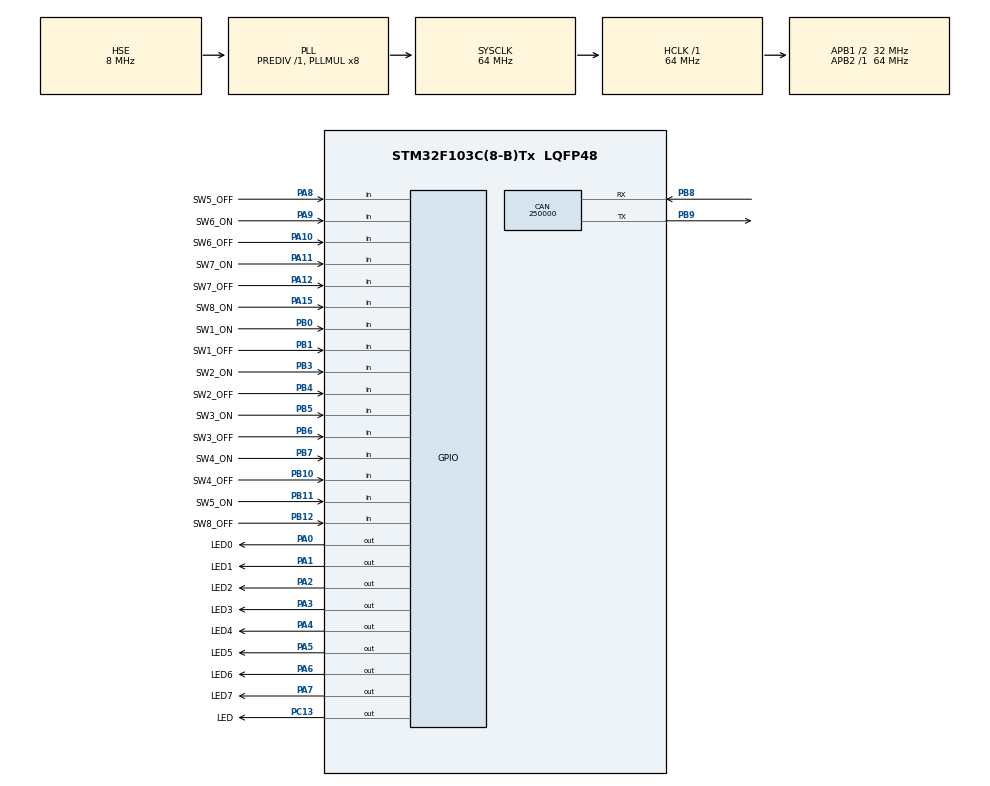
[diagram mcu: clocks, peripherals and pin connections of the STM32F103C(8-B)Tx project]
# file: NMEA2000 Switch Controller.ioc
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CAN.BS1=CAN_BS1_5TQ
CAN.BS2=CAN_BS2_2TQ
CAN.CalculateBaudRate=250000
CAN.CalculateTimeBit=4000
CAN.CalculateTimeQuantum=500.0
Mcu.Family=STM32F1
Mcu.Name=STM32F103C(8-B)Tx
Mcu.Package=LQFP48
NVIC.CAN1_RX1_IRQn=true\:0\:0\:false\:false\:true\:true\:true\:true
NVIC.CAN1_SCE_IRQn=true\:0\:0\:false\:false\:true\:true\:true\:true
NVIC.PriorityGroup=NVIC_PRIORITYGROUP_4
NVIC.TIM3_IRQn=true\:0\:0\:false\:false\:true\:true\:true\:true
NVIC.USB_HP_CAN1_TX_IRQn=true\:0\:0\:false\:false\:true\:true\:true\:true
NVIC.USB_LP_CAN1_RX0_IRQn=true\:0\:0\:false\:false\:true\:true\:true\:true
PA0-WKUP.GPIO_Label=LED0
PA0-WKUP.GPIO_Speed=GPIO_SPEED_FREQ_LOW
PA0-WKUP.Signal=GPIO_Output
PA1.GPIO_Label=LED1
PA1.GPIO_Speed=GPIO_SPEED_FREQ_LOW
PA1.Signal=GPIO_Output
PA10.GPIO_Label=SW6_OFF
PA10.GPIO_PuPd=GPIO_PULLUP
PA10.Signal=GPIO_Input
PA11.GPIO_Label=SW7_ON
PA11.GPIO_PuPd=GPIO_PULLUP
PA11.Signal=GPIO_Input
PA12.GPIO_Label=SW7_OFF
PA12.GPIO_PuPd=GPIO_PULLUP
PA12.Signal=GPIO_Input
PA13.Mode=Serial_Wire
PA13.Signal=SYS_JTMS-SWDIO
PA14.Mode=Serial_Wire
PA14.Signal=SYS_JTCK-SWCLK
PA15.GPIO_Label=SW8_ON
PA15.GPIO_PuPd=GPIO_PULLUP
PA15.Signal=GPIO_Input
PA2.GPIO_Label=LED2
PA2.GPIO_Speed=GPIO_SPEED_FREQ_LOW
PA2.Signal=GPIO_Output
PA3.GPIO_Label=LED3
PA3.GPIO_Speed=GPIO_SPEED_FREQ_LOW
PA3.Signal=GPIO_Output
PA4.GPIO_Label=LED4
PA4.Signal=GPIO_Output
PA5.GPIO_Label=LED5
PA5.Signal=GPIO_Output
PA6.GPIO_Label=LED6
PA6.Signal=GPIO_Output
PA7.GPIO_Label=LED7
PA7.Signal=GPIO_Output
PA8.GPIO_Label=SW5_OFF
PA8.GPIO_PuPd=GPIO_PULLUP
PA8.Signal=GPIO_Input
PA9.GPIO_Label=SW6_ON
PA9.GPIO_PuPd=GPIO_PULLUP
PA9.Signal=GPIO_Input
PB0.GPIO_Label=SW1_ON
PB0.GPIO_PuPd=GPIO_PULLUP
PB0.Signal=GPIO_Input
PB1.GPIO_Label=SW1_OFF
PB1.GPIO_PuPd=GPIO_PULLUP
PB1.Signal=GPIO_Input
PB10.GPIO_Label=SW4_OFF
PB10.GPIO_PuPd=GPIO_PULLUP
PB10.Signal=GPIO_Input
PB11.GPIO_Label=SW5_ON
PB11.GPIO_PuPd=GPIO_PULLUP
PB11.Signal=GPIO_Input
PB12.GPIO_Label=SW8_OFF
PB12.GPIO_PuPd=GPIO_PULLUP
PB12.Signal=GPIO_Input
PB3.GPIO_Label=SW2_ON
PB3.GPIO_PuPd=GPIO_PULLUP
PB3.Signal=GPIO_Input
PB4.GPIO_Label=SW2_OFF
PB4.GPIO_PuPd=GPIO_PULLUP
PB4.Signal=GPIO_Input
PB5.GPIO_Label=SW3_ON
PB5.GPIO_PuPd=GPIO_PULLUP
PB5.Signal=GPIO_Input
PB6.GPIO_Label=SW3_OFF
PB6.GPIO_PuPd=GPIO_PULLUP
PB6.Signal=GPIO_Input
PB7.GPIO_Label=SW4_ON
PB7.GPIO_PuPd=GPIO_PULLUP
PB7.Signal=GPIO_Input
PB8.GPIO_PuPd=GPIO_PULLUP
PB8.Mode=CAN_Activate
PB8.Signal=CAN_RX
PB9.Mode=CAN_Activate
PB9.Signal=CAN_TX
PC13-TAMPER-RTC.GPIO_Label=LED
PC13-TAMPER-RTC.GPIO_ModeDefaultOutputPP=GPIO_MODE_OUTPUT_OD
PC13-TAMPER-RTC.GPIO_PuPd=GPIO_NOPULL
PC13-TAMPER-RTC.GPIO_Speed=GPIO_SPEED_FREQ_HIGH
PC13-TAMPER-RTC.PinState=GPIO_PIN_SET
PC13-TAMPER-RTC.Signal=GPIO_Output
PD0-OSC_IN.Mode=HSE-External-Oscillator
PD0-OSC_IN.Signal=RCC_OSC_IN
PD1-OSC_OUT.Mode=HSE-External-Oscillator
PD1-OSC_OUT.Signal=RCC_OSC_OUT
ProjectManager.HeapSize=0x200
ProjectManager.StackSize=0x400
ProjectManager.TargetToolchain=STM32CubeIDE
RCC.AHBFreq_Value=64000000
RCC.APB1CLKDivider=RCC_HCLK_DIV2
RCC.APB1Freq_Value=32000000
RCC.APB1TimFreq_Value=64000000
RCC.APB2Freq_Value=64000000
RCC.APB2TimFreq_Value=64000000
RCC.HCLKFreq_Value=64000000
RCC.PLLMUL=RCC_PLL_MUL8
RCC.PLLSourceVirtual=RCC_PLLSOURCE_HSE
RCC.SYSCLKFreq_VALUE=64000000
RCC.SYSCLKSource=RCC_SYSCLKSOURCE_PLLCLK
RCC.USBFreq_Value=64000000
TIM3.Period=99
TIM3.Prescaler=6399
VP_TIM3_VS_ClockSourceINT.Mode=Internal
board=custom

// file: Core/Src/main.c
/* USER CODE BEGIN Header */
/**
  ******************************************************************************
  * @file           : main.c
  * @brief          : Main program body
  ******************************************************************************
  * NMEA2000 Switch Controller
  *
  * (CC) 2025 by G.J.Kruizinga
  *
  * @attention
  *
  * Copyright (c) 2025 STMicroelectronics.
  * All rights reserved.
  *
  * This software is licensed under terms that can be found in the LICENSE file
  * in the root directory of this software component.
  * If no LICENSE file comes with this software, it is provided AS-IS.
  *
  ******************************************************************************
  */
/* USER CODE END Header */
#include "main.h"

/* USER CODE BEGIN Includes */

#include <stdio.h>
/* USER CODE END Includes */

/* USER CODE BEGIN PTD */

// Switch function definition
struct SWITCH_T {
	uint16_t		switchType;
	uint16_t		switchState;
	uint16_t		switchOnId;
	GPIO_TypeDef	*switchOnPort;
	uint16_t		switchOffId;
	GPIO_TypeDef	*switchOffPort;
	uint16_t		ledNo;
	uint16_t		switchOnTime;
	uint8_t			relayId;
	uint8_t			relayNo;
};

// Bring led port definitions to an array structure
struct LED_T {
	GPIO_TypeDef	*gpio;
	uint16_t		pin;
};

// NMEA2K network operational NAME parameters
struct NMEA2K_NETWORK_T {
	uint8_t			senderId;
	uint8_t			linkState;
	uint16_t		heartbeatTime;
	uint8_t			*nameData;
	uint8_t			linkRetries;
};

// Queue type for ISO Transport Messages being received
struct ISO_TRANSPORT_MESSAGE_T {
	uint8_t			senderId;
	uint8_t			isoCommand;
	uint8_t			packetsExpected;
	uint8_t			packetsReceived;
	uint16_t		messageSize;
	uint32_t		pgn;
	uint8_t			*data;
	struct ISO_TRANSPORT_MESSAGE_T *prev;
	struct ISO_TRANSPORT_MESSAGE_T *next;
};

struct CAN_MSG_T {
	uint32_t		pgn;
	uint8_t			senderId;
	uint8_t			data[8];
};

// Queue type for timer actions
struct TIMER_T {
	int 			type;
	int				timeout;
	int 			countdown;
	void 			(*callback)(void *);
	void 			*payload;
	struct TIMER_T	*prev;
	struct TIMER_T	*next;
};

// Queue type for jobs to be executed
struct JOB_QUEUE_T {
	void 			(*callback)(void *);
	void 			*payload;
	struct JOB_QUEUE_T	*next;
};

/* USER CODE END PTD */

/* USER CODE BEGIN PD */
#define N2K_ID				192		/* Initial NMEA2K sender id */
#define SWITCH_CHANNELS		8		/* Number of switches on this board */

// Initial ISO NAME parameters
#define MFG_CODE			2046	/* Manufacturer code (0-2047) 2046 for homemade */
#define DEV_INST			0		/* Device instance */
#define DEV_FUNCT			135		/* Switch Interface */
#define DEV_CLASS			110		/* Human Interface */
#define SYS_INST			0		/* System instance */
#define IND_GROUP			4		/* Industry group = 4 (Marine Industry) */
#define ARB_ADDRESS			1		/* Arbitrary address capable */
#define ISO_MAX_RETRIES		8		/* Maximum number of address claim retries */
#define ISO_HEARTBEAT		2000	/* Heartbeat default interval = 20 sec (2000 * 10ms) */

// NMEA2K Link States
#define LINK_STATE_IDLE		0
#define LINK_STATE_CLAIMED	1
#define LINK_STATE_ACTIVE	2
#define LINK_STATE_ABORT	99

// Switch types
#define SWITCH_DISABLED		0
#define SWITCH_ON_OFF		1
#define SWITCH_PUSHBUTTON	2
#define SWITCH_MOMENTARY	3
#define SWITCH_MOM_TIME		4

// Switch states
#define SWITCH_IDLE			0
#define SWITCH_ON_1			1
#define SWITCH_OFF_1		2
#define SWITCH_ON_2			3
#define SWITCH_OFF_2		4
#define SWITCH_ON			5
#define SWITCH_OFF			6

#define TIMER_ONESHOT		1
#define TIMER_RELOAD		2

#define MODEL_ID			"GJK NMEA2000 Switch Controller"
#define SOFTWARE_VERSION	"V 1.0"
#define HARDWARE_VERSION	"V 1.0"

/* USER CODE END PD */

CAN_HandleTypeDef hcan;

TIM_HandleTypeDef htim3;

/* USER CODE BEGIN PV */
volatile uint16_t ledStatus;

// Configuration of switches
struct SWITCH_T switches[SWITCH_CHANNELS] = {
		{SWITCH_ON_OFF, SWITCH_IDLE, SW1_ON_Pin, SW1_ON_GPIO_Port, SW1_OFF_Pin, SW1_OFF_GPIO_Port, 0, 0, 0x8C, 0},
		{SWITCH_ON_OFF, SWITCH_IDLE, SW2_ON_Pin, SW2_ON_GPIO_Port, SW2_OFF_Pin, SW2_OFF_GPIO_Port, 1, 0, 0x8C, 4},
		{SWITCH_PUSHBUTTON, SWITCH_IDLE, SW3_ON_Pin, SW3_ON_GPIO_Port, SW3_OFF_Pin, SW3_OFF_GPIO_Port, 2, 0, 0x8C, 1},
		{SWITCH_PUSHBUTTON, SWITCH_IDLE, SW4_ON_Pin, SW4_ON_GPIO_Port, SW4_OFF_Pin, SW4_OFF_GPIO_Port, 3, 0, 0x8C, 5},
		{SWITCH_MOMENTARY, SWITCH_IDLE, SW5_ON_Pin, SW5_ON_GPIO_Port, SW5_OFF_Pin, SW5_OFF_GPIO_Port, 4, 0, 0x8C, 2},
		{SWITCH_MOMENTARY, SWITCH_IDLE, SW6_ON_Pin, SW6_ON_GPIO_Port, SW6_OFF_Pin, SW6_OFF_GPIO_Port, 5, 0, 0x8C, 6},
		{SWITCH_MOM_TIME, SWITCH_IDLE, SW7_ON_Pin, SW7_ON_GPIO_Port, SW7_OFF_Pin, SW7_OFF_GPIO_Port, 6, 300, 0x8C, 3},
		{SWITCH_MOM_TIME, SWITCH_IDLE, SW8_ON_Pin, SW8_ON_GPIO_Port, SW8_OFF_Pin, SW8_OFF_GPIO_Port, 7, 500, 0x8C, 7}
};

// Configuration of leds
struct LED_T leds[SWITCH_CHANNELS] = {
		{LED0_GPIO_Port, LED0_Pin},
		{LED1_GPIO_Port, LED1_Pin},
		{LED2_GPIO_Port, LED2_Pin},
		{LED3_GPIO_Port, LED3_Pin},
		{LED4_GPIO_Port, LED4_Pin},
		{LED5_GPIO_Port, LED5_Pin},
		{LED6_GPIO_Port, LED6_Pin},
		{LED7_GPIO_Port, LED7_Pin}
};

struct NMEA2K_NETWORK_T nmea2kNetwork;
struct TIMER_T *timers = NULL;
struct JOB_QUEUE_T *jobs = NULL;

// List of transmitted and received PGN's capable by this device
uint32_t txList[] = {59392, 60928, 126996, 126993, 126464, 127502, 0};
uint32_t rxList[] = {59904, 60928, 60160, 60416, 65240, 127501, 0};
uint32_t * pgnList[] = {txList, rxList};

// Static strings for PGN 126996 and 126998
char productInformation[128];
char manufacturerInformation[] = "(CC) 2025 by G.J.Kruizinga - gjk4all(at)gmail(dot)com";

/* USER CODE END PV */

void SystemClock_Config(void);
static void MX_GPIO_Init(void);
static void MX_CAN_Init(void);
static void MX_TIM3_Init(void);
/* USER CODE BEGIN PFP */

void Send_ISOAddressClaim();
void Send_ISOAcknowledgement(uint8_t dest, uint8_t control, uint8_t group, uint32_t pgn);
void Send_HeartBeat(void * payload);
void Send_SwitchBankControl(uint8_t *data);
void Send_SwitchOn(void * payload);
void Send_SwitchOff(void * payload);
void Send_ProductInformation(void * payload);
void Send_ConfigurationInformation(void * payload);
void Send_PGNList(void * payload);
int Send_FFMessage(CAN_TxHeaderTypeDef *TxHeader, uint8_t *data, int seqNo, int len);
void Handle_ISOTransportMessages(void *payload);
void Handle_ISOCommandedAddress(uint8_t *data);
void Set_Led(struct SWITCH_T * pSwitch, uint8_t *data);
int Compare_NameWeight(uint8_t *data);
int CheckSwitch(struct SWITCH_T *pSwitch);
struct TIMER_T * Add_Timer(int type, int timeout, void(*callback)(), void * payload);
void Delete_Timer(struct TIMER_T *timer);
struct JOB_QUEUE_T * Add_Job(void(*callback)(), void * payload);
void Delete_Job(struct JOB_QUEUE_T *job);

/* USER CODE END PFP */

int main(void)
{

  /* USER CODE BEGIN 1 */
	ledStatus = 0;

	// Initialize Product Information record
	for (int i = 0; i < 128; i++)
		productInformation[i] = 0xFF;

	sprintf(productInformation, "%s", MODEL_ID);
	sprintf(productInformation + 32, "%s", SOFTWARE_VERSION);
	sprintf(productInformation + 64, "%s", HARDWARE_VERSION);
	sprintf(productInformation + 96, "%lu", (HAL_GetUIDw0() ^ HAL_GetUIDw1() ^ HAL_GetUIDw2()));

	// Initialise the data array with the ISO NAME info
	uint8_t nameData[8];

	*(uint32_t *)nameData = (MFG_CODE << 21) | ((HAL_GetUIDw0() ^ HAL_GetUIDw1() ^ HAL_GetUIDw2()) & 0x1FFFFF);
	nameData[4] = DEV_INST;
	nameData[5] = DEV_FUNCT;
	nameData[6] = (DEV_CLASS << 1) | 1;
	nameData[7] = ((ARB_ADDRESS == 0)?0:0x80) | ((IND_GROUP << 4) & 0x70) | ((SYS_INST) & 0x0F);

	// Populate initial N2K network structure
	nmea2kNetwork.senderId = N2K_ID;
	nmea2kNetwork.linkState = LINK_STATE_IDLE;
	nmea2kNetwork.heartbeatTime = ISO_HEARTBEAT;
	nmea2kNetwork.nameData = nameData;
	nmea2kNetwork.linkRetries = 0;
  /* USER CODE END 1 */

  /* MCU Configuration--------------------------------------------------------*/

  /* Reset of all peripherals, Initializes the Flash interface and the Systick. */
  HAL_Init();

  /* Configure the system clock */
  SystemClock_Config();

  /* Initialize all configured peripherals */
  MX_GPIO_Init();
  MX_CAN_Init();
  MX_TIM3_Init();
  /* USER CODE BEGIN 2 */

  // Initialize continues timers
  HAL_TIM_Base_Stop_IT(&htim3);

  // Heartbeat timer
  if (Add_Timer(TIMER_RELOAD, nmea2kNetwork.heartbeatTime, &Send_HeartBeat, NULL) == NULL) {
	  Error_Handler();
  }

  /* USER CODE END 2 */

  /* Infinite loop */
	while (1)
	{

    /* USER CODE BEGIN 3 */
		// If the NMEA2K link is idle, try to (re)activate it
		if (nmea2kNetwork.linkState == LINK_STATE_IDLE) {
			// Stop the seconds timer
			HAL_TIM_Base_Stop_IT(&htim3);
			// Check the retry counter against max retries
			if (nmea2kNetwork.linkRetries > ISO_MAX_RETRIES) {
				// ERROR, no valid address
				nmea2kNetwork.linkState = LINK_STATE_ABORT;
				Error_Handler();
			}
			// Try a PGN 60928 - ISO Address Claim
			Send_ISOAddressClaim();
			// Set link state to CLAIMED
			nmea2kNetwork.linkState = LINK_STATE_CLAIMED;
			// Wait for 250 ms for the claim
			HAL_Delay(250);
			// Check if the claim is still valid
			if (nmea2kNetwork.linkState == LINK_STATE_CLAIMED) {
				// Claim is valid, activate network
				nmea2kNetwork.linkState = LINK_STATE_ACTIVE;
				// Clear the retry counter
				nmea2kNetwork.linkRetries = 0;
				// (re)start the seconds timer
				HAL_TIM_Base_Start_IT(&htim3);
			}
		}

		// If the link is up, do the switch polling
		if (nmea2kNetwork.linkState == LINK_STATE_ACTIVE) {
			// Check all the switches for state changes
			for (int i = 0; i < SWITCH_CHANNELS; i++)
				CheckSwitch(&switches[i]);

			// Run job queue
			while (jobs != NULL) {
				(jobs->callback)(jobs->payload);
				Delete_Job(jobs);
			}

			// Wait 10 ms for debounce
			HAL_Delay(10);
		}
	}
  /* USER CODE END 3 */
}

void SystemClock_Config(void)
{
  RCC_OscInitTypeDef RCC_OscInitStruct = {0};
  RCC_ClkInitTypeDef RCC_ClkInitStruct = {0};

  /** Initializes the RCC Oscillators according to the specified parameters
  * in the RCC_OscInitTypeDef structure.
  */
  RCC_OscInitStruct.OscillatorType = RCC_OSCILLATORTYPE_HSE;
  RCC_OscInitStruct.HSEState = RCC_HSE_ON;
  RCC_OscInitStruct.HSEPredivValue = RCC_HSE_PREDIV_DIV1;
  RCC_OscInitStruct.HSIState = RCC_HSI_ON;
  RCC_OscInitStruct.PLL.PLLState = RCC_PLL_ON;
  RCC_OscInitStruct.PLL.PLLSource = RCC_PLLSOURCE_HSE;
  RCC_OscInitStruct.PLL.PLLMUL = RCC_PLL_MUL8;
  if (HAL_RCC_OscConfig(&RCC_OscInitStruct) != HAL_OK)
  {
    Error_Handler();
  }

  /** Initializes the CPU, AHB and APB buses clocks
  */
  RCC_ClkInitStruct.ClockType = RCC_CLOCKTYPE_HCLK|RCC_CLOCKTYPE_SYSCLK
                              |RCC_CLOCKTYPE_PCLK1|RCC_CLOCKTYPE_PCLK2;
  RCC_ClkInitStruct.SYSCLKSource = RCC_SYSCLKSOURCE_PLLCLK;
  RCC_ClkInitStruct.AHBCLKDivider = RCC_SYSCLK_DIV1;
  RCC_ClkInitStruct.APB1CLKDivider = RCC_HCLK_DIV2;
  RCC_ClkInitStruct.APB2CLKDivider = RCC_HCLK_DIV1;

  if (HAL_RCC_ClockConfig(&RCC_ClkInitStruct, FLASH_LATENCY_2) != HAL_OK)
  {
    Error_Handler();
  }
}

static void MX_CAN_Init(void)
{

  /* USER CODE BEGIN CAN_Init 0 */
	CAN_FilterTypeDef  sFilterN2K127501, sFilterN2K060928;

  /* USER CODE END CAN_Init 0 */

  hcan.Instance = CAN1;
  hcan.Init.Prescaler = 16;
  hcan.Init.Mode = CAN_MODE_NORMAL;
  hcan.Init.SyncJumpWidth = CAN_SJW_1TQ;
  hcan.Init.TimeSeg1 = CAN_BS1_5TQ;
  hcan.Init.TimeSeg2 = CAN_BS2_2TQ;
  hcan.Init.TimeTriggeredMode = DISABLE;
  hcan.Init.AutoBusOff = DISABLE;
  hcan.Init.AutoWakeUp = DISABLE;
  hcan.Init.AutoRetransmission = ENABLE;
  hcan.Init.ReceiveFifoLocked = DISABLE;
  hcan.Init.TransmitFifoPriority = DISABLE;
  if (HAL_CAN_Init(&hcan) != HAL_OK)
  {
    Error_Handler();
  }
  /* USER CODE BEGIN CAN_Init 2 */
	// Filter for Binary Switch Bank Status messages
	uint32_t can_id = 127501 << 8;

	sFilterN2K127501.FilterBank = 1;
	sFilterN2K127501.FilterMode = CAN_FILTERMODE_IDMASK;
	sFilterN2K127501.FilterScale = CAN_FILTERSCALE_32BIT;
	sFilterN2K127501.FilterIdHigh = (can_id >> 13) & 0xFFFF;
	sFilterN2K127501.FilterIdLow = ((can_id << 3) & 0xFFF8) | 4;
	sFilterN2K127501.FilterMaskIdHigh = 0x0FFF;
	sFilterN2K127501.FilterMaskIdLow = 0xF804;
	sFilterN2K127501.FilterFIFOAssignment = CAN_FILTER_FIFO1;
	sFilterN2K127501.FilterActivation = CAN_FILTER_ENABLE;

	HAL_CAN_ConfigFilter(&hcan, &sFilterN2K127501);

	// Filter for ISO messages
	can_id = 0x0E800 << 8;

	sFilterN2K060928.FilterBank = 0;
	sFilterN2K060928.FilterMode = CAN_FILTERMODE_IDMASK;
	sFilterN2K060928.FilterScale = CAN_FILTERSCALE_32BIT;
	sFilterN2K060928.FilterIdHigh = (can_id >> 13) & 0xFFFF;
	sFilterN2K060928.FilterIdLow = ((can_id << 3) & 0xFFF8) | 4;
	sFilterN2K060928.FilterMaskIdHigh = 0x0FC0;
	sFilterN2K060928.FilterMaskIdLow = 0x0004;
	sFilterN2K060928.FilterFIFOAssignment = CAN_FILTER_FIFO1;
	sFilterN2K060928.FilterActivation = CAN_FILTER_ENABLE;

	HAL_CAN_ConfigFilter(&hcan, &sFilterN2K060928);

	// Start CAN bus
	HAL_CAN_Start(&hcan);
	// Enable RX interrupts
	if (HAL_CAN_ActivateNotification(&hcan, CAN_IT_RX_FIFO1_MSG_PENDING) != HAL_OK) {
		Error_Handler();
	}

  /* USER CODE END CAN_Init 2 */

}

static void MX_TIM3_Init(void)
{

  TIM_ClockConfigTypeDef sClockSourceConfig = {0};
  TIM_MasterConfigTypeDef sMasterConfig = {0};

  htim3.Instance = TIM3;
  htim3.Init.Prescaler = 6399;
  htim3.Init.CounterMode = TIM_COUNTERMODE_UP;
  htim3.Init.Period = 99;
  htim3.Init.ClockDivision = TIM_CLOCKDIVISION_DIV1;
  htim3.Init.AutoReloadPreload = TIM_AUTORELOAD_PRELOAD_DISABLE;
  if (HAL_TIM_Base_Init(&htim3) != HAL_OK)
  {
    Error_Handler();
  }
  sClockSourceConfig.ClockSource = TIM_CLOCKSOURCE_INTERNAL;
  if (HAL_TIM_ConfigClockSource(&htim3, &sClockSourceConfig) != HAL_OK)
  {
    Error_Handler();
  }
  sMasterConfig.MasterOutputTrigger = TIM_TRGO_RESET;
  sMasterConfig.MasterSlaveMode = TIM_MASTERSLAVEMODE_DISABLE;
  if (HAL_TIMEx_MasterConfigSynchronization(&htim3, &sMasterConfig) != HAL_OK)
  {
    Error_Handler();
  }

}

static void MX_GPIO_Init(void)
{
  GPIO_InitTypeDef GPIO_InitStruct = {0};

  /* GPIO Ports Clock Enable */
  __HAL_RCC_GPIOC_CLK_ENABLE();
  __HAL_RCC_GPIOD_CLK_ENABLE();
  __HAL_RCC_GPIOA_CLK_ENABLE();
  __HAL_RCC_GPIOB_CLK_ENABLE();

  /*Configure GPIO pin Output Level */
  HAL_GPIO_WritePin(LED_GPIO_Port, LED_Pin, GPIO_PIN_SET);

  /*Configure GPIO pin Output Level */
  HAL_GPIO_WritePin(GPIOA, LED0_Pin|LED1_Pin|LED2_Pin|LED3_Pin
                          |LED4_Pin|LED5_Pin|LED6_Pin|LED7_Pin, GPIO_PIN_RESET);

  /*Configure GPIO pin : LED_Pin */
  GPIO_InitStruct.Pin = LED_Pin;
  GPIO_InitStruct.Mode = GPIO_MODE_OUTPUT_OD;
  GPIO_InitStruct.Pull = GPIO_NOPULL;
  GPIO_InitStruct.Speed = GPIO_SPEED_FREQ_HIGH;
  HAL_GPIO_Init(LED_GPIO_Port, &GPIO_InitStruct);

  /*Configure GPIO pins : LED0_Pin LED1_Pin LED2_Pin LED3_Pin
                           LED4_Pin LED5_Pin LED6_Pin LED7_Pin */
  GPIO_InitStruct.Pin = LED0_Pin|LED1_Pin|LED2_Pin|LED3_Pin
                          |LED4_Pin|LED5_Pin|LED6_Pin|LED7_Pin;
  GPIO_InitStruct.Mode = GPIO_MODE_OUTPUT_PP;
  GPIO_InitStruct.Pull = GPIO_NOPULL;
  GPIO_InitStruct.Speed = GPIO_SPEED_FREQ_LOW;
  HAL_GPIO_Init(GPIOA, &GPIO_InitStruct);

  /*Configure GPIO pins : SW1_ON_Pin SW1_OFF_Pin SW4_OFF_Pin SW5_ON_Pin
                           SW8_OFF_Pin SW2_ON_Pin SW2_OFF_Pin SW3_ON_Pin
                           SW3_OFF_Pin SW4_ON_Pin */
  GPIO_InitStruct.Pin = SW1_ON_Pin|SW1_OFF_Pin|SW4_OFF_Pin|SW5_ON_Pin
                          |SW8_OFF_Pin|SW2_ON_Pin|SW2_OFF_Pin|SW3_ON_Pin
                          |SW3_OFF_Pin|SW4_ON_Pin;
  GPIO_InitStruct.Mode = GPIO_MODE_INPUT;
  GPIO_InitStruct.Pull = GPIO_PULLUP;
  HAL_GPIO_Init(GPIOB, &GPIO_InitStruct);

  /*Configure GPIO pins : SW5_OFF_Pin SW6_ON_Pin SW6_OFF_Pin SW7_ON_Pin
                           SW7_OFF_Pin SW8_ON_Pin */
  GPIO_InitStruct.Pin = SW5_OFF_Pin|SW6_ON_Pin|SW6_OFF_Pin|SW7_ON_Pin
                          |SW7_OFF_Pin|SW8_ON_Pin;
  GPIO_InitStruct.Mode = GPIO_MODE_INPUT;
  GPIO_InitStruct.Pull = GPIO_PULLUP;
  HAL_GPIO_Init(GPIOA, &GPIO_InitStruct);

}

/* USER CODE BEGIN 4 */

/******************************************************************************
 * HAL_TIM_PeriodElapsedCallback
 *
 * HAL function every 0.01 sec called by the TIM1 timer
 * Used for timers
 *
 *****************************************************************************/
void HAL_TIM_PeriodElapsedCallback (TIM_HandleTypeDef *htim)
{
	struct TIMER_T *current, *temp;

	__HAL_TIM_CLEAR_IT(htim, TIM_IT_UPDATE);

	current = timers;
	while (current != NULL) {
		// Countdown on timer
		if (current->countdown != 0) {
			current->countdown -= 1;
			current = current->next;
		}
		else {
			// Submit timer job to the job queue
 			Add_Job(current->callback, current->payload);

 			// Reload contignious timer
			if (current->type == TIMER_RELOAD) {
				current->countdown = current->timeout;
				current = current->next;
			}
			// Cleanup one-shot timer
			else if (current->type == TIMER_ONESHOT) {
				temp = current;
				current = current->next;
				Delete_Timer(temp);
			}
		}
	}
}

/******************************************************************************
 * HAL_CAN_RxFifo1MsgPendingCallback
 *
 * HAL function called when a CAN message is received through the filters
 * Determines which action must be taken as a reaction
 *
 *****************************************************************************/
void HAL_CAN_RxFifo1MsgPendingCallback(CAN_HandleTypeDef *hcan)
{
	CAN_RxHeaderTypeDef	RxHeader;
	uint8_t				RxData[8];
	uint32_t			N2KPgn;
	uint8_t				senderId;

	// RX control LED
	HAL_GPIO_WritePin(LED_GPIO_Port, LED_Pin, GPIO_PIN_RESET);

	// Get the message from the FIFO
	if (HAL_CAN_GetRxMessage(hcan, CAN_RX_FIFO1, &RxHeader, RxData) != HAL_OK) {
		Error_Handler();
	}

	// Get the NMEA2000 PGN and the sender id from the extended CAN id
	N2KPgn = (RxHeader.ExtId >> 8) & 0x01FFFF;
	senderId = RxHeader.ExtId & 0xFF;

	// Check for Switch Bank Control message addressed to our channelID
	if (N2KPgn == 127501) {
		for (int i = 0; i < SWITCH_CHANNELS; i++) {
			if (RxData[0] == switches[i].relayId)
				Set_Led(&switches[i], RxData);
		}
	}

	// Check for ISO Address Claim message with our senderId
	if (((N2KPgn & 0x1FE00) == 0x0EE00) && (senderId == nmea2kNetwork.senderId)) {
		// If we are waiting for the claimed address, address is in use, send a new claim
		if (nmea2kNetwork.linkState == LINK_STATE_CLAIMED) {
			nmea2kNetwork.linkState = LINK_STATE_IDLE;
			nmea2kNetwork.linkRetries += 1;
			nmea2kNetwork.senderId += nmea2kNetwork.linkRetries;
		}
		// If our address is already active, check a couple of things
		if (nmea2kNetwork.linkState == LINK_STATE_ACTIVE) {
			// If the other contender can't change his senderID or has a higher NAME score, we change our senderID
			if (Compare_NameWeight(RxData)) {
				Send_ISOAddressClaim();
			}
			else {
				nmea2kNetwork.linkState = LINK_STATE_IDLE;
				nmea2kNetwork.linkRetries += 1;
				nmea2kNetwork.senderId += nmea2kNetwork.linkRetries;
			}
		}
	}

	struct CAN_MSG_T *msg;

	// Check for ISO Request to our senderId or broadcast id
	if (((N2KPgn & 0x1FE00) == 0x0EA00) && (((N2KPgn & 0xFF) == nmea2kNetwork.senderId) || ((N2KPgn & 0xFF) == 0xFF))) {
		if ((msg = malloc(sizeof(struct CAN_MSG_T))) == NULL) {
			Error_Handler();
		}

		msg->pgn = *(uint32_t *)RxData & 0x00FFFFFF;
		msg->senderId = senderId;

		// Check for a ISO Address Claim request
		if (msg->pgn == 0x00EE00) {
			Add_Job(&Send_ISOAddressClaim, msg);
		}

		// Check for a Product Information request
		if (msg->pgn == 0x01F014) {
			Add_Job(&Send_ProductInformation, msg);
		}

		// Check for a Configuration Information request
		if (msg->pgn == 0x01F016) {
			Add_Job(&Send_ConfigurationInformation, msg);
		}

		// Check for a PGN List request
		if (msg->pgn == 0x01EE00) {
			Add_Job(&Send_PGNList, msg);
		}
	}

	// Check for ISO Transport Protocol messages
	if (((N2KPgn & 0x1FF00) == 0x0EC00) || ((N2KPgn & 0x1FF00) == 0x0EB00)) {
		if ((msg = malloc(sizeof(struct CAN_MSG_T))) == NULL) {
			Error_Handler();
		}

		msg->pgn = N2KPgn;
		msg->senderId = senderId;
		memcpy(msg->data, RxData, RxHeader.DLC);

		Add_Job(&Handle_ISOTransportMessages, msg);
	}

	// RX control LED
	HAL_GPIO_WritePin(LED_GPIO_Port, LED_Pin, GPIO_PIN_SET);
}

/******************************************************************************
 * Send_ISOAddressClaim
 *
 * Send a ISO Address Claim message to claim our sender ID
 *
 *****************************************************************************/
void Send_ISOAddressClaim() {
	CAN_TxHeaderTypeDef	TxHeader;
	uint32_t			TxMailbox = CAN_TX_MAILBOX0;
	uint32_t			N2KId;

	// Initialise the CAN header with the NMEA2K info
	// Can ID = PRIO(3) - 0 - PGN(17) - Sender ID(8)
	N2KId = (6 << 26) | (0x0EEFF << 8) | nmea2kNetwork.senderId;
	TxHeader.ExtId = N2KId;
	TxHeader.IDE = CAN_ID_EXT;
	TxHeader.RTR = CAN_RTR_DATA;
	TxHeader.DLC = 8;
	TxHeader.TransmitGlobalTime = DISABLE;

	// Send the NMEA 60928 ISO Address Claim message
	if (HAL_CAN_AddTxMessage(&hcan, &TxHeader, nmea2kNetwork.nameData, &TxMailbox) != HAL_OK) {
		Error_Handler();
	}

}

/******************************************************************************
 * Send_ISOAcknowledgement
 *
 * Send a ISO Acknowledgement message
 *
 * Parameters:
 * - dest		Destination address
 * - control	Acknowledgement type
 * - group		Group ID
 * - pgn		PGN to acknowledge
 *
 *****************************************************************************/
void Send_ISOAcknowledgement(uint8_t dest, uint8_t control, uint8_t group, uint32_t pgn) {
	CAN_TxHeaderTypeDef	TxHeader;
	uint32_t			TxMailbox = CAN_TX_MAILBOX0;
	uint32_t			N2KId;

	// Initialise the CAN header with the NMEA2K info
	// Can ID = PRIO(3) - 0 - PGN(17) - Sender ID(8)
	N2KId = (6 << 26) | (0x0E800 << 8) | (dest << 8) | nmea2kNetwork.senderId;
	TxHeader.ExtId = N2KId;
	TxHeader.IDE = CAN_ID_EXT;
	TxHeader.RTR = CAN_RTR_DATA;
	TxHeader.DLC = 8;
	TxHeader.TransmitGlobalTime = DISABLE;

	// Initialise the data array with the ISO NAME info
	uint8_t TxData[] = {control, group, 0xFF, 0xFF, 0xFF, (pgn & 0xFF), ((pgn >> 8) & 0xFF), ((pgn >> 16) & 0xFF)};

	// Send the NMEA 60928 ISO Address Claim message
	if (HAL_CAN_AddTxMessage(&hcan, &TxHeader, TxData, &TxMailbox) != HAL_OK) {
		Error_Handler();
	}

}

/******************************************************************************
 * Send_SwitchBankControl
 *
 * Send a NMEA2000 Switch Bank Control message to control the relay board
 *
 * Parameters:
 *  - *TxData	Pointer to a CAN TxData[8] structure
 *
 *****************************************************************************/
void Send_SwitchBankControl(uint8_t *data)
{
	CAN_TxHeaderTypeDef	TxHeader;
	uint32_t			TxMailbox = CAN_TX_MAILBOX0;
	uint32_t			N2KId;

	// Initialize the CAN header with the NMEA2K info
	// Can ID = PRIO(3) - 0 - PGN(17) - Sender ID(8)
	N2KId = (3 << 26) | (127502 << 8) | nmea2kNetwork.senderId;
	TxHeader.ExtId = N2KId;
	TxHeader.IDE = CAN_ID_EXT;
	TxHeader.RTR = CAN_RTR_DATA;
	TxHeader.DLC = 8;
	TxHeader.TransmitGlobalTime = DISABLE;

	// Send the NMEA 127501 Binary Switch Bank Status message
	if (HAL_CAN_AddTxMessage(&hcan, &TxHeader, data, &TxMailbox) != HAL_OK) {
		Error_Handler();
	}
}

/******************************************************************************
 * Send_HeartBeat
 *
 * Send a NMEA2000 Heartbeat message to the network
 *
 *****************************************************************************/
void Send_HeartBeat(void * payload) {
	static int			sequence = 0;
	CAN_TxHeaderTypeDef	TxHeader;
	uint32_t			TxMailbox = CAN_TX_MAILBOX0;
	uint32_t			N2KId;

	// Initialise the CAN header with the NMEA2K info
	// Can ID = PRIO(3) - 0 - PGN(17) - Sender ID(8)
	N2KId = (6 << 26) | (0x1F011 << 8) | nmea2kNetwork.senderId;
	TxHeader.ExtId = N2KId;
	TxHeader.IDE = CAN_ID_EXT;
	TxHeader.RTR = CAN_RTR_DATA;
	TxHeader.DLC = 8;
	TxHeader.TransmitGlobalTime = DISABLE;

	// Initialise the data array with the heartbeat info
	uint8_t TxData[8];

	*((uint16_t *)TxData) = nmea2kNetwork.heartbeatTime;
	TxData[2] = sequence++;
	TxData[3] = 0b11001101;
	*((uint32_t *)(TxData + 4)) = 0xFFFFFFFF;

	if (sequence > 252)
		sequence = 0;

	// Send the NMEA 60928 ISO Address Claim message
	if (HAL_CAN_AddTxMessage(&hcan, &TxHeader, TxData, &TxMailbox) != HAL_OK) {
		Error_Handler();
	}

	free(payload);
}

/******************************************************************************
 * Send_SwitchOn
 *
 * Send a NMEA2000 PGN 127502 - Switch Bank Control message to the indicated
 * relay board and relay number.
 *
 * Parameters:
 *  - *payload		Pointer to the SWITCH_T structure to switch on
 *
 *****************************************************************************/
void Send_SwitchOn(void * payload) {
	int offset, index;
	struct SWITCH_T *pSwitch = (struct SWITCH_T *)payload;
	uint8_t data[8] = {0xFF, 0xFF, 0xFF, 0xFF, 0xFF, 0xFF, 0xFF, 0xFF};

	if (nmea2kNetwork.linkState == LINK_STATE_ACTIVE) {
		// Reset the data array
		data[0] = pSwitch->relayId;
		offset = 2 * (pSwitch->relayNo % 4);
		index = 1 + (pSwitch->relayNo / 4);
		data[index] &= ~(0b10 << offset);
		Send_SwitchBankControl(data);
	}
}

/******************************************************************************
 * Send_SwitchOff
 *
 * Send a NMEA2000 PGN 127502 - Switch Bank Control message to the indicated
 * relay board and relay number.
 *
 * Parameters:
 *  - *payload		Pointer to the SWITCH_T structure to switch off
 *
 *****************************************************************************/
void Send_SwitchOff(void * payload) {
	int offset, index;
	struct SWITCH_T *pSwitch = (struct SWITCH_T *)payload;
	uint8_t data[8] = {0xFF, 0xFF, 0xFF, 0xFF, 0xFF, 0xFF, 0xFF, 0xFF};

	if (nmea2kNetwork.linkState == LINK_STATE_ACTIVE) {
		// Reset the data array
		data[0] = pSwitch->relayId;
		offset = 2 * (pSwitch->relayNo % 4);
		index = 1 + (pSwitch->relayNo / 4);
		data[index] &= ~(0b11 << offset);
		Send_SwitchBankControl(data);
	}
}

/******************************************************************************
 * Send_ProductInformation
 *
 * Send a PGN 126996 Product Information message when requested throug a
 * PGN 59904 - ISO Request message.
 *
 * Parameters:
 *  - *payload		NULL pointer
 *
 *****************************************************************************/
void Send_ProductInformation(void * payload) {
	CAN_TxHeaderTypeDef	TxHeader;
	uint32_t			N2KId;
	uint8_t				*data;

	// Initialise the CAN header with the NMEA2K info
	// Can ID = PRIO(3) - 0 - PGN(17) - Sender ID(8)
	N2KId = (6 << 26) | (0x1F014 << 8) | nmea2kNetwork.senderId;
	TxHeader.ExtId = N2KId;
	TxHeader.IDE = CAN_ID_EXT;
	TxHeader.RTR = CAN_RTR_DATA;
	TxHeader.DLC = 8;
	TxHeader.TransmitGlobalTime = DISABLE;

	// Allocate data structure
	if ((data = malloc(134 * sizeof(uint8_t))) == NULL) {
		Error_Handler();
	}

	// Populate data structure
	*(uint16_t *)data = 3000;					// NMEA2000 v3.000
	*(uint16_t *)(data + 2) = 101;				// Model number 1.01
	memcpy(data + 4, productInformation, 128);	// 128 bytes of product information
	*(data + 132) = 0xFF;						// No official NMEA2000 certification
	*(data + 133) = 4;							// Guaranteed max load = 4 * 50mA = 200mA

	// Send as Fast Frame message
	Send_FFMessage(&TxHeader, data, 0, 134);
	free(data);
	free(payload);
}

/******************************************************************************
 * Send_ConfigurationInformation
 *
 * Send a PGN 126998 Configuration Information message when requested throug a
 * PGN 59904 - ISO Request message.
 *
 * Parameters:
 *  - *payload		NULL pointer
 *
 *****************************************************************************/
void Send_ConfigurationInformation(void * payload) {
	CAN_TxHeaderTypeDef	TxHeader;
	uint32_t			N2KId;
	uint8_t				*data;

	// Initialise the CAN header with the NMEA2K info
	// Can ID = PRIO(3) - 0 - PGN(17) - Sender ID(8)
	N2KId = (6 << 26) | (0x1F016 << 8) | nmea2kNetwork.senderId;
	TxHeader.ExtId = N2KId;
	TxHeader.IDE = CAN_ID_EXT;
	TxHeader.RTR = CAN_RTR_DATA;
	TxHeader.DLC = 8;
	TxHeader.TransmitGlobalTime = DISABLE;

	int mfgStrLength = 2 + strlen(manufacturerInformation);
	int length = 4 + mfgStrLength;

	// Allocate data structure
	if ((data = malloc(length * sizeof(uint8_t))) == NULL) {
		Error_Handler();
	}

	// Populate data structure
	data[0] = 2;
	data[1] = 1;
	data[2] = 2;
	data[3] = 1;
	data[4] = mfgStrLength;
	data[5] = 1;
	memcpy(data + 6, manufacturerInformation, strlen(manufacturerInformation));

	// Send as Fast Frame message
	Send_FFMessage(&TxHeader, data, 0, length);

	free(data);
	free(payload);
}

/******************************************************************************
 * Send_PGNList
 *
 * Sends a  PGN 126464 PGN List for TX and RX messages when requested throug a
 * PGN 59904 - ISO Request message.
 *
 * Parameters:
 *  - *payload		NULL pointer
 *
 *****************************************************************************/
void Send_PGNList(void * payload) {
	CAN_TxHeaderTypeDef	TxHeader;
	uint32_t			N2KId;
	uint8_t				*data;
	int 				length;

	// Initialise the CAN header with the NMEA2K info
	// Can ID = PRIO(3) - 0 - PGN(17) - Sender ID(8)
	N2KId = (6 << 26) | (0x1EE00 << 8) | nmea2kNetwork.senderId;
	TxHeader.ExtId = N2KId;
	TxHeader.IDE = CAN_ID_EXT;
	TxHeader.RTR = CAN_RTR_DATA;
	TxHeader.DLC = 8;
	TxHeader.TransmitGlobalTime = DISABLE;

	for (int i = 0; i < 2; i++) {
		for (length = 0; pgnList[i][length] != 0; length++);

		// Allocate data structure
		if ((data = malloc(1 + (length * 3))) == NULL) {
			Error_Handler();
		}

		// Populate data structure
		data[0] = (uint8_t)i;
		for (int j = 0; j < length; j++) {
			memcpy(data + 1 + (j * 3), &pgnList[i][j], 3);
		}

		Send_FFMessage(&TxHeader, data, 0, 1 + (length * 3));
		free(data);
	}

	free(payload);
}

/******************************************************************************
 * Send_FFMessage
 *
 * Sends NMEA2000 Fast Frame messages for the given data structure.
 *
 * Parameters:
 *  - *TxHeader		Pointer to the CAN_TxHeader for the messages
 *  - *data			Pointer to the data structure
 *  - seqNo			Sequence number for the FF messages
 *  - len			Length of the data structure to send
 *
 *****************************************************************************/
int Send_FFMessage(CAN_TxHeaderTypeDef *TxHeader, uint8_t *data, int seqNo, int len) {
	uint32_t TxMailbox = CAN_TX_MAILBOX0;
	int offset = 0, frameCounter = 0;
	uint8_t TxData[8];

	// Check validity of len parameter
	if (len > 223)
		return frameCounter;

	// Frame length is always 8 data bytes
	TxHeader->DLC = 8;

	// Fill TxData for first package
	TxData[0] = (seqNo << 5) | (frameCounter++ & 0x1F);
	TxData[1] = len & 0xFF;
	memcpy(&TxData[2], data, ((len - offset) < 6)?(len - offset):6);

	// Pad till 8 bytes
	for (int i = (len - offset) + 2; i < 8; i++) {
		TxData[i] = 0xFF;
	}

	offset += ((len - offset) < 6)?(len - offset):6;

	// Send the NMEA2000 FF Frame
	if (HAL_CAN_AddTxMessage(&hcan, TxHeader, TxData, &TxMailbox) != HAL_OK) {
		Error_Handler();
	}

	while (offset < len) {
		// Delay for 1 ms to prevent buffer flooding (non critical)
		HAL_Delay(10);

		// Fill TxData for additional packages
		TxData[0] = (seqNo << 5) | (frameCounter++ & 0x1F);
		memcpy(&TxData[1], data + offset, ((len - offset) < 7)?(len - offset):7);

		// Pad till 8 bytes
		for (int i = (len - offset) + 1; i < 8; i++) {
			TxData[i] = 0xFF;
		}

		offset += ((len - offset) < 7)?(len - offset):7;

		// Send the NMEA2000 FF Frame
		if (HAL_CAN_AddTxMessage(&hcan, TxHeader, TxData, &TxMailbox) != HAL_OK) {
			Error_Handler();
		}
	}

	// Return number of frames send
	return frameCounter;
}

/******************************************************************************
 * Handle_ISOTransportMessages
 *
 * Handler for incoming PGN 60416 ISO Transport Protocol CM and PGN 60160 ISO
 * Transport Protocol DT messages, used for PGN 65240 ISO Commanded Address
 * messages
 *
 * Parameters:
 *  - *payload		Pointer to an ISO_TRANSPORT_MESSAGE_T structure
 *
 *****************************************************************************/
void Handle_ISOTransportMessages(void *payload) {
	struct CAN_MSG_T *msg = payload;
	static struct ISO_TRANSPORT_MESSAGE_T *msgList = NULL;
	struct ISO_TRANSPORT_MESSAGE_T *currentMsg, *newMsg;
	int offset, byteCount;

	// BAM announcement
	if (((msg->pgn & 0x1FF00) == 0x0EC00) && (msg->data[0] == 0x20)) {
		// Find the last message to insert after
		if ((currentMsg = msgList) != NULL) {
			while (currentMsg->next != NULL)
				currentMsg = currentMsg->next;
		}

		// Create the new message structure
		if ((newMsg = malloc(sizeof(struct ISO_TRANSPORT_MESSAGE_T))) == NULL) {
			Error_Handler();
		}

		// Fill the structure
		newMsg->senderId = msg->senderId;
		newMsg->isoCommand = msg->data[0];
		newMsg->packetsExpected = msg->data[3];
		newMsg->packetsReceived = 0;
		newMsg->messageSize = *((uint16_t *)(msg->data + 1));
		newMsg->pgn = (*((uint32_t *)(msg->data + 4)) >> 8);
		newMsg->prev = currentMsg;
		newMsg->next = NULL;

		// Create the data structure
		if ((newMsg->data = malloc(newMsg->messageSize * sizeof(uint8_t))) == NULL) {
			Error_Handler();
		}

		// Link newMsg in the list
		if (currentMsg == NULL) {
			msgList = newMsg;
		}
		else {
			currentMsg->prev = newMsg;
		}
	}

	// Data package
	if ((msg->pgn & 0x1FF00) == 0x0EB00) {
		currentMsg = msgList;
		// Find the right message
		while(currentMsg != NULL) {
			if (currentMsg->senderId == msg->senderId) {
				offset = (msg->data[0] - 1) * 7;
				if ((byteCount = currentMsg->messageSize - ((msg->data[0] - 1) * 7)) > 7)
					byteCount = 7;
				memcpy(currentMsg->data + offset, msg->data + 1, byteCount);
				currentMsg->packetsReceived += 1;

				// Check if message is complete
				if (currentMsg->packetsReceived == currentMsg->packetsExpected) {
					// Check for ISO Commanded Address
					if (currentMsg->pgn == 65240)
						Handle_ISOCommandedAddress(currentMsg->data);

					// Cleanup memory and restore linked list
					if (currentMsg->prev == NULL)
						msgList = currentMsg->next;
					else
						currentMsg->prev->next = currentMsg->next;

					if (currentMsg->next != NULL)
						currentMsg->next->prev = currentMsg->prev;

					free(currentMsg->data);
					free(currentMsg);
				}
				break;
			}
		}
	}
}

/******************************************************************************
 * Handle_ISOCommandedAddress
 *
 * Handle a received PGN 65240 ISO Commanded Address message if it is adressed
 * to us
 *
 * Parameters:
 * 	- *data			Pointer to the data structure
 *
 *****************************************************************************/
void Handle_ISOCommandedAddress(uint8_t *data) {
	if (*(uint64_t *)nmea2kNetwork.nameData == *(uint64_t *)data) {
		nmea2kNetwork.senderId = data[8];
		nmea2kNetwork.nameData[7] &= ~(1 << 7);		// Reset arbitrary addres bit
		nmea2kNetwork.linkState = LINK_STATE_IDLE;
	}
}

/******************************************************************************
 * Set_Led
 *
 * Reacts on PGN 127501 - Binary Switch Bank Status messages by lightning or
 * dimming the LED belonging to the pressed switch.
 *
 * Parameters:
 *  - *pSwitch		Pointer to the switch structure
 *  - *data			Pointer to the PGN 127501 data structure
 *
 *****************************************************************************/
void Set_Led(struct SWITCH_T *pSwitch, uint8_t *data) {
	int offset, index;

	// Determine index and offset for the parameters in the data structure
	offset = 2 * (pSwitch->relayNo % 4);
	index = 1 + (pSwitch->relayNo / 4);

	if ((data[index] >> offset) & 0x01) {
		// Parameter is 1, light the LED
		ledStatus |= (1 << pSwitch->ledNo);
		HAL_GPIO_WritePin(leds[pSwitch->ledNo].gpio, leds[pSwitch->ledNo].pin, GPIO_PIN_SET);
	}
	else {
		// Parameter is 0, dim the LED
		ledStatus &= ~(1 << pSwitch->ledNo);
		HAL_GPIO_WritePin(leds[pSwitch->ledNo].gpio, leds[pSwitch->ledNo].pin, GPIO_PIN_RESET);
	}
}

/******************************************************************************
 * Compare_NameWeight
 *
 * Helper function to compare our ISO NAME values against a contender
 *
 * Parameters:
 * 	- *data		Pointer to a CAN RxData[8] NAME structure
 *
 * Returns:
 * 	- True if we win, False if we loose
 *
 *****************************************************************************/
int Compare_NameWeight(uint8_t *data) {
	return (*(uint64_t *)nmea2kNetwork.nameData <= *(uint64_t *)data);
}

/******************************************************************************
 * CheckSwitch
 *
 * Check the state of the switch. Debounce by state machine, this also mekes
 * shure the switch only fires once
 *
 * Parameters:
 *  - switchNo		Number of the switch to be checked
 *****************************************************************************/
int CheckSwitch(struct SWITCH_T *pSwitch) {
	GPIO_PinState swOn, swOff;
	swOn = HAL_GPIO_ReadPin(pSwitch->switchOnPort, pSwitch->switchOnId);
	swOff = HAL_GPIO_ReadPin(pSwitch->switchOffPort, pSwitch->switchOffId);

	switch (pSwitch->switchType) {
	case SWITCH_ON_OFF:
		if ((swOn == GPIO_PIN_RESET) && (swOff == GPIO_PIN_SET)) {
			// Debounce state machine
			switch (pSwitch->switchState) {
			case SWITCH_IDLE:
				pSwitch->switchState = SWITCH_ON_1;
				break;
			case SWITCH_ON_1:
				pSwitch->switchState = SWITCH_ON_2;
				break;
			case SWITCH_ON_2:
 				pSwitch->switchState = SWITCH_ON;
 				Send_SwitchOn(pSwitch);
				return 1;
			}
		}
		if ((swOn == GPIO_PIN_SET) && (swOff == GPIO_PIN_RESET)) {
			// Debounce state machine
			switch (pSwitch->switchState) {
			case SWITCH_IDLE:
				pSwitch->switchState = SWITCH_OFF_1;
				break;
			case SWITCH_OFF_1:
				pSwitch->switchState = SWITCH_OFF_2;
				break;
			case SWITCH_OFF_2:
				pSwitch->switchState = SWITCH_OFF;
 				Send_SwitchOff(pSwitch);
				return -1;
			}
		}
		// Switch is released, set it back to idle
		if ((swOn == GPIO_PIN_SET) && (swOff == GPIO_PIN_SET) && (pSwitch->switchState != SWITCH_IDLE))
			pSwitch->switchState = SWITCH_IDLE;

		break;
	case SWITCH_PUSHBUTTON:
		if ((swOn == GPIO_PIN_RESET) || (swOff == GPIO_PIN_RESET)) {
			// Debounce state machine
			switch (pSwitch->switchState) {
			case SWITCH_IDLE:
				pSwitch->switchState = SWITCH_ON_1;
				break;
			case SWITCH_ON_1:
				pSwitch->switchState = SWITCH_ON_2;
				break;
			case SWITCH_ON_2:
				pSwitch->switchState = SWITCH_ON;
				if (ledStatus & (0x01 << pSwitch->ledNo)) {
					// Switch is On, set to Off
	 				Send_SwitchOff(pSwitch);
					return -1;
				}
				else {
					// Switch is Off, turn it On
	 				Send_SwitchOn(pSwitch);
					return 1;
				}
			}
		}
		// Switch is released, set it back to idle
		if ((swOn == GPIO_PIN_SET) && (swOff == GPIO_PIN_SET) && (pSwitch->switchState != SWITCH_IDLE))
			pSwitch->switchState = SWITCH_IDLE;

		break;
	case SWITCH_MOMENTARY:
		if ((swOn == GPIO_PIN_RESET) || (swOff == GPIO_PIN_RESET)) {
			// Debounce state machine
			switch (pSwitch->switchState) {
			case SWITCH_IDLE:
				pSwitch->switchState = SWITCH_ON_1;
				break;
			case SWITCH_ON_1:
				pSwitch->switchState = SWITCH_ON_2;
				break;
			case SWITCH_ON_2:
				pSwitch->switchState = SWITCH_ON;
 				Send_SwitchOn(pSwitch);
				return 1;
			}
		}
		// Switch is released, set it back to idle and turn the channel Off
		if ((swOn == GPIO_PIN_SET) && (swOff == GPIO_PIN_SET) && (pSwitch->switchState != SWITCH_IDLE)) {
			pSwitch->switchState = SWITCH_IDLE;
			Send_SwitchOff(pSwitch);
			return -1;
		}

		break;
	case SWITCH_MOM_TIME:
		if ((swOn == GPIO_PIN_RESET) || (swOff == GPIO_PIN_RESET)) {
			// Debounce state machine
			switch (pSwitch->switchState) {
			case SWITCH_IDLE:
				pSwitch->switchState = SWITCH_ON_1;
				break;
			case SWITCH_ON_1:
				pSwitch->switchState = SWITCH_ON_2;
				break;
			case SWITCH_ON_2:
				pSwitch->switchState = SWITCH_ON;
 				Send_SwitchOn(pSwitch);
				if (Add_Timer(TIMER_ONESHOT, pSwitch->switchOnTime, &Send_SwitchOff, pSwitch) == NULL)
					Error_Handler();
				return 1;
			}
		}
		// Switch is released, set it back to idle
		if ((swOn == GPIO_PIN_SET) && (swOff == GPIO_PIN_SET) && (pSwitch->switchState != SWITCH_IDLE))
			pSwitch->switchState = SWITCH_IDLE;

		break;
	}
	return 0;
}

/******************************************************************************
 * Add_Timer
 *
 * Add a timer to the 10mS time loop. When the timer expires it calls the
 * *callback function with the *payload as parameter
 *
 * Parameters:
 *  - type			Timer type TIMER_ONESHOT or TIMER_RELOAD
 *  - timeout		Timeout in steps of 10mS
 *  - *callback		Function to call a (*callback)(void*) function on timeout
 *  - *payload		Payload to the function
 *
 * Returns:
 *  - TIMER_T*		Pointer to the created TIMER_T structure or NULL on failure
 *
 *****************************************************************************/
struct TIMER_T * Add_Timer(int type, int timeout, void(*callback)(), void *payload) {
	struct TIMER_T *current, *new;

	// Start atomic function
	__disable_irq();

	// Claim the memory for the timer
	if ((new = malloc(sizeof(struct TIMER_T))) == NULL)
		return NULL;

	// Populate the timer structure
	new->type = type;
	new->timeout = timeout;
	new->countdown = timeout;
	new->callback = callback;
	new->payload = payload;

	// Add the timer to the queue
	if (timers == NULL) {	// Empty queue
		new->prev = NULL;
		new->next = NULL;
		timers = new;
	}
	else {
		current = timers;
		while (current->next != NULL)	// Find the end of the queue
			current = current->next;
		// Add the new timer
		new->prev = current;
		new->next = NULL;
		current->next = new;
	}
	__enable_irq();
	// End atomic function

	return new;;
}

/******************************************************************************
 * Delete_Timer
 *
 * Deletes a timer from the 10mS timer loop
 *
 * Parameters:
 *  - *timer		Pointer to the TIMER_T structure to delete
 *
 *****************************************************************************/
void Delete_Timer(struct TIMER_T *timer) {
	// Start atomic function
	__disable_irq();

	// Remove the timer from the queue
	if (timer->prev == NULL)
		timers = timer->next;
	else
		timer->prev->next = timer->next;

	if (timer->next != NULL)
		timer->next->prev = timer->prev;

	// Release the memory from the timer
	free(timer);
	__enable_irq();
	// End atomic function
}

/******************************************************************************
 * Add_Job
 *
 * Adds a job to the job queue to execute outside an interrupt. The job queue is
 * polled by the main loop.
 *
 * Parameters:
 *  - *callback		Function to call the (*callback)(void*) job function
 *  - *payload		Payload to the function
 *
 * Returns:
 *  - JOB_QUEUE_T*	Pointer to the job in the queue or NULL on failure
 *
 *****************************************************************************/
struct JOB_QUEUE_T * Add_Job(void(*callback)(), void * payload) {
	struct JOB_QUEUE_T *current, *new;

	// Start atomic function
	__disable_irq();

	// Claim memory for the job
	if ((new = malloc(sizeof(struct JOB_QUEUE_T))) == NULL)
		return NULL;

	// Populate the job structure
	new->callback = callback;
	new->payload = payload;
	new->next = NULL;

	// Add the job to the queue
	if (jobs == NULL)		// Empty queue, job is the first
		jobs = new;
	else {
		current = jobs;
		while (current->next != NULL)	// Find the end of the queue
			current = current->next;
		current->next = new;			// Add the job at the end
	}
	__enable_irq();
	// End atomic function

	return new;
}

/******************************************************************************
 * Delete_Job
 *
 * Delete a job from the job queue
 *
 * Parameters:
 *  - *job			Pointer to the job to delete
 *
 *****************************************************************************/
void Delete_Job(struct JOB_QUEUE_T *job) {
	struct JOB_QUEUE_T *current;

	// Start atomic function
	__disable_irq();
	if (jobs == NULL) {}	// Do nothing
	else if (jobs == job)	// Found the right job
		jobs = job->next;	// Remove the job from the queue
	else {
		current = jobs;
		while (current->next != job)	// Scan the queue for the job
			current = current->next;
		current->next = job->next;		// Remove the job from the queue
	}

	free(job);				// Release the memory from the job
	__enable_irq();
	// End atomic function
}

/* USER CODE END 4 */

void Error_Handler(void)
{
  volatile int a = 1, b = 7;
  /* USER CODE BEGIN Error_Handler_Debug */
  /* User can add his own implementation to report the HAL error return state */
  __disable_irq();
  while (1)
  {
	  HAL_GPIO_TogglePin(LED_GPIO_Port, LED_Pin);
	  for (int i = 0; i < 2000000; i++) {
		  a = a * b;
	  }
  }
  /* USER CODE END Error_Handler_Debug */
}
